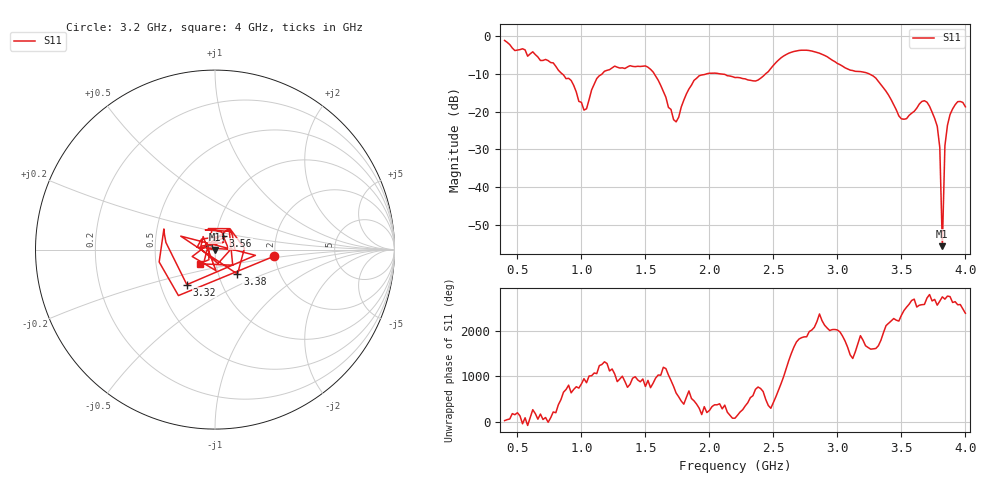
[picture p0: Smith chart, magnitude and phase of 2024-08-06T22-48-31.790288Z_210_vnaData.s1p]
!Created with skrf (http://scikit-rf.org).
# Hz S RI R 50.0
!freq ReS11 ImS11
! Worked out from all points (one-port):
!   181 points, 400 MHz to 4 GHz, reference 50 ohm
!   lowest |S11| = -55.6 dB at 3.82 GHz (marker M1), VSWR 1.00, Z = 49.9 - j0.11 ohm
!   |S11| at or under -10 dB: 1.568 GHz to 1.984 GHz (415.2 MHz wide, 23.4 % of centre); 2.074 GHz to 2.44 GHz (366.2 MHz wide, 16.2 % of centre); 3.244 GHz to end of sweep (the widest 3 of 4)
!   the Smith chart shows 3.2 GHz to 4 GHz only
!   S11 on the Smith chart (normalised r, x): 3.2 GHz: 1.97, -0.16; 3.32 GHz: 0.68, -0.28; 3.38 GHz: 1.23, -0.35; 3.56 GHz: 1.08, +0.17; 4 GHz: 0.83, -0.13
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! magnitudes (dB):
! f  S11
! 400 MHz  -1.2
! 860 MHz  -10.3
! 920 MHz  -11.8
! 1.02 GHz  -19.6
! 1.12 GHz  -11.3
! 1.3 GHz  -8.5
! 1.54 GHz  -8.8
! 1.72 GHz  -22.1
! 1.76 GHz  -21.5
! 1.82 GHz  -15.4
! 1.92 GHz  -10.6
! 2.2 GHz  -11.0
! 2.38 GHz  -11.7
! 2.66 GHz  -4.1
! 3.1 GHz  -9.1
! 3.2 GHz  -9.6
! 3.32 GHz  -12.0
! 3.38 GHz  -14.6
! 3.5 GHz  -21.9
! 3.56 GHz  -21.0
! 3.68 GHz  -17.1
! 3.78 GHz  -23.9
! 3.8 GHz  -29.5
! 3.82 GHz  -55.6
! 3.84 GHz  -29.0
! 3.86 GHz  -23.6
! 3.94 GHz  -17.4
! 4 GHz  -18.8
